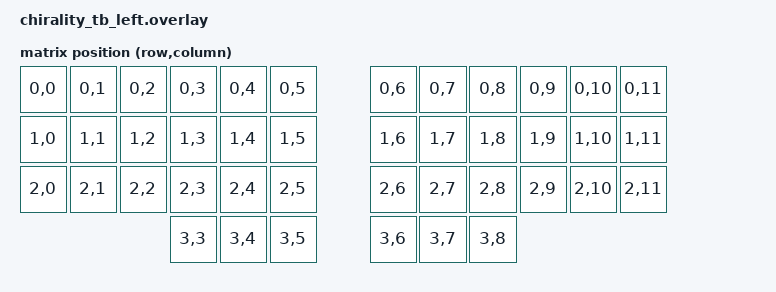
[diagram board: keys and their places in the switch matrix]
/*
 * Copyright (c) 2020 Pete Johanson
 *
 * SPDX-License-Identifier: MIT
 */

#include "chirality_tb.dtsi"

#include <dt-bindings/zmk/matrix_transform.h>
#define INPUT_EV_KEY 0x01               /**< Key event */
#define INPUT_EV_REL 0x02               /**< Relative coordinate event */
#define INPUT_EV_ABS 0x03               /**< Absolute coordinate event */
#define INPUT_EV_MSC 0x04               /**< Miscellaneous event */
#define INPUT_EV_VENDOR_START 0xf0      /**< Vendor specific event start */
#define INPUT_EV_VENDOR_STOP 0xff       /**< Vendor specific event stop */

#define INPUT_REL_X 0x00                /**< Relative X coordinate */
#define INPUT_REL_Y 0x01                /**< Relative Y coordinate */
#define INPUT_REL_WHEEL 0x08            /**< Relative wheel coordinate */
#define INPUT_REL_HWHEEL 0x06           /**< Relative horizontal wheel coordinate */
#define INPUT_REL_MISC 0x09             /**< Relative misc coordinate */

/ {
    chosen {
        zmk,kscan = &mock_kscan;
        zmk,matrix-transform = &default_transform;
    };

    default_transform: keymap_transform_0 {
        compatible = "zmk,matrix-transform";
        columns = <12>;
        rows = <4>;
        map = <
	 RC(0,0) RC(0,1) RC(0,2) RC(0,3) RC(0,4) RC(0,5)    RC(0,6) RC(0,7) RC(0,8) RC(0,9) RC(0,10) RC(0,11)
	 RC(1,0) RC(1,1) RC(1,2) RC(1,3) RC(1,4) RC(1,5)    RC(1,6) RC(1,7) RC(1,8) RC(1,9) RC(1,10) RC(1,11)
	 RC(2,0) RC(2,1) RC(2,2) RC(2,3) RC(2,4) RC(2,5)    RC(2,6) RC(2,7) RC(2,8) RC(2,9) RC(2,10) RC(2,11)
					         RC(3,3) RC(3,4) RC(3,5)    RC(3,6) RC(3,7)RC(3,8)
        >;
    };

    mock_kscan: kscan_0 {
        compatible = "zmk,kscan-mock";
        columns = <0>;
        rows = <0>;
        events = <0>;
    };
};

&pinctrl {
    spi1_default: spi1_default {
        group1 {
            psels = <NRF_PSEL(SPIM_SCK, 0, 8)>,
                <NRF_PSEL(SPIM_MOSI, 0, 11)>,
                <NRF_PSEL(SPIM_MISO, 0, 11)>;
        };
    };

    spi1_sleep: spi1_sleep {
        group1 {
            psels = <NRF_PSEL(SPIM_SCK, 0, 8)>,
                <NRF_PSEL(SPIM_MOSI, 0, 11)>,
                <NRF_PSEL(SPIM_MISO, 0, 11)>;
            low-power-enable;
        };
    };
};

&uart0 {
	status = "disabled";
};

&spi1 {
	compatible = "nordic,nrf-spim";
	status = "okay";
    pinctrl-0 = <&spi1_default>;
	pinctrl-1 = <&spi1_sleep>;
	pinctrl-names = "default", "sleep";
	cs-gpios = <&gpio0 19 GPIO_ACTIVE_LOW>;
	pd0: pd@0 {
		compatible = "pixart,pmw3610";
		status = "okay";
		label = "TRACKBALL0";
		reg = <0>;
		spi-max-frequency = <4000000>;
	    irq-gpios = <&gpio0 22 (GPIO_ACTIVE_LOW | GPIO_PULL_UP)>;
	    cpi = <600>;
	    evt-type = <INPUT_EV_REL>;
	    x-input-code = <INPUT_REL_X>;
	    y-input-code = <INPUT_REL_Y>;
	};
};


/{
  trackball_listener { 
    compatible = "zmk,input-listener";
    device = <&pd0>;
  };
};


/{
/*   auto toggle mouse key layer */
  trackball_auto_mouse_listener {
         compatible = "zmk,input-behavior-listener";
        device = <&pd0>;
        layers = <0>;
        evt-type = <INPUT_EV_REL>;
        x-input-code = <INPUT_REL_X>;
        y-input-code = <INPUT_REL_Y>;
	scale-multiplier = <1>;
	scale-divisor = <1>;
        bindings = <&ib_tog_layer 4>;
   };

   /* input config for mouse scroll mode on momentary mouse scoll layer */
   trackball_scroll_listener {
           compatible = "zmk,input-behavior-listener";
           device = <&pd0>;
           layers = <2>;
           evt-type = <INPUT_EV_REL>;
           /* slienting x-axis with alt event code */
           x-input-code = <INPUT_REL_MISC>;
           y-input-code = <INPUT_REL_WHEEL>;   
           /* invent scrolling direction */
           y-invert;
           /* align to CCW 180 degree */
           rotate-deg = <180>;
           /* scale-multiplier = <1>; */
           scale-divisor = <8>; 
           /* NOTE 1: This settings do not compitable with y-invert and x-invert */
           /* NOTE 2: Floating point computation requires alot of ram. */
           /*         This feature will cuase stackove flow with CONFIG_ZMK_USB_LOGGING=y *   
           /* bind a behavior to down scaling input value to (1/8) */
           /* NOTE: This behavior is different to scale-divisor. */
           /*       The delta value is accumlated until result >= 1 after cast. */
           /*       The scrolling is preented in hi-res and allow precise scrolling */
           bindings = <&ib_wheel_scaler_x 1 64>;
   };

   trackball_peripheral_snipe_listener {
          compatible = "zmk,input-behavior-listener";
          device = <&pd0>;
          layers = <3>;
          evt-type = <INPUT_EV_REL>;
          x-input-code = <INPUT_REL_X>;
          y-input-code = <INPUT_REL_Y>;
          scale-multiplier = <1>;
          scale-divisor = <1>;
          /*rotate-deg = <315>;*/
          bindings = <&ib_snipe_scaler_x 1 8 &ib_snipe_scaler_y 1 8>;
   };

   /* adjust cooldown waiting period for mouse key layer (MSK) after activated */
   ib_tog_layer: ib_tog_layer {
        compatible = "zmk,input-behavior-tog-layer";
        #binding-cells = <1>;
        time-to-live-ms = <2000>;
    };

    /* define a resolution down scaler only for INPUT_REL_WHEEL */
    ib_wheel_scaler_x: ib_wheel_scaler_x {
        compatible = "zmk,input-behavior-scaler";
        #binding-cells = <2>;
        evt-type = <INPUT_EV_REL>;
        input-code = <INPUT_REL_WHEEL>;
    };

    ib_wheel_scaler_y: ib_wheel_scaler_y {
        compatible = "zmk,input-behavior-scaler";
        #binding-cells = <2>;
        evt-type = <INPUT_EV_REL>;
        input-code = <INPUT_REL_HWHEEL>;
    };

    ib_snipe_scaler_x: ib_snipe_scaler_x {
        compatible = "zmk,input-behavior-scaler";
        #binding-cells = <2>;
        evt-type = <INPUT_EV_REL>;
        input-code = <INPUT_REL_X>;
    };

    ib_snipe_scaler_y: ib_snipe_scaler_y {
        compatible = "zmk,input-behavior-scaler";
        #binding-cells = <2>;
        evt-type = <INPUT_EV_REL>;
        input-code = <INPUT_REL_Y>;
    };
};
